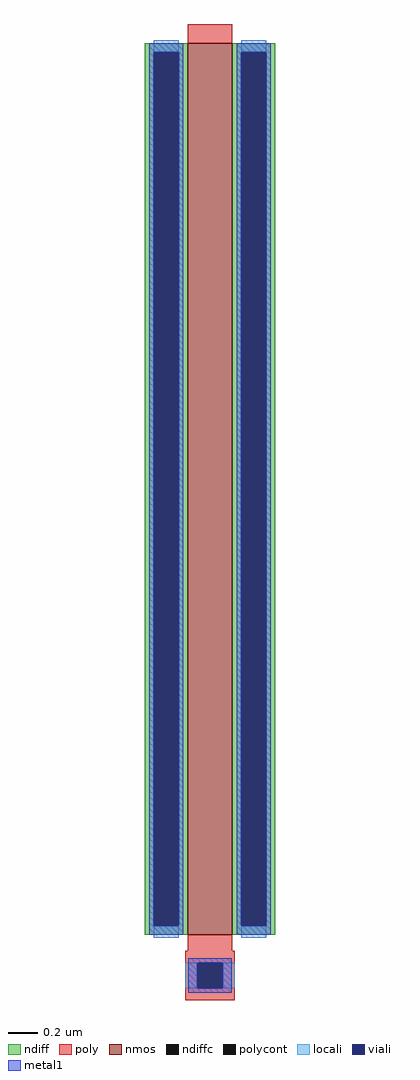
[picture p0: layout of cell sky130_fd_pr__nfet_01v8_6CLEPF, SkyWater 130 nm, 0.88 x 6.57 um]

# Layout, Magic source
magic
tech sky130A
magscale 1 2
<< nmos >>
rect -30 -569 30 631
<< ndiff >>
rect -88 619 -30 631
rect -88 -557 -76 619
rect -42 -557 -30 619
rect -88 -569 -30 -557
rect 30 619 88 631
rect 30 -557 42 619
rect 76 -557 88 619
rect 30 -569 88 -557
<< ndiffc >>
rect -76 -557 -42 619
rect 42 -557 76 619
<< poly >>
rect -30 631 30 657
rect -30 -591 30 -569
rect -33 -607 33 -591
rect -33 -641 -17 -607
rect 17 -641 33 -607
rect -33 -657 33 -641
<< polycont >>
rect -17 -641 17 -607
<< locali >>
rect -76 619 -42 635
rect -76 -573 -42 -557
rect 42 619 76 635
rect 42 -573 76 -557
rect -33 -641 -17 -607
rect 17 -641 33 -607
<< viali >>
rect -76 -557 -42 619
rect 42 -557 76 619
rect -17 -641 17 -607
<< metal1 >>
rect -82 619 -36 631
rect -82 -557 -76 619
rect -42 -557 -36 619
rect -82 -569 -36 -557
rect 36 619 82 631
rect 36 -557 42 619
rect 76 -557 82 619
rect 36 -569 82 -557
rect -29 -607 29 -601
rect -29 -641 -17 -607
rect 17 -641 29 -607
rect -29 -647 29 -641
<< properties >>
string gencell sky130_fd_pr__nfet_01v8
string library sky130
string parameters w 6.0 l 0.3 m 1 nf 1 diffcov 100 polycov 100 guard 0 glc 0 grc 0 gtc 0 gbc 0 tbcov 100 rlcov 100 topc 0 botc 1 poverlap 0 doverlap 1 lmin 0.15 wmin 0.42 compatible {sky130_fd_pr__nfet_01v8 sky130_fd_pr__nfet_01v8_lvt  sky130_fd_bs_flash__special_sonosfet_star  sky130_fd_pr__nfet_g5v0d10v5 sky130_fd_pr__nfet_05v0_nvt  sky130_fd_pr__nfet_03v3_nvt} full_metal 0 viasrc 100 viadrn 100 viagate 100 viagb 0 viagr 0 viagl 0 viagt 0
<< end >>
